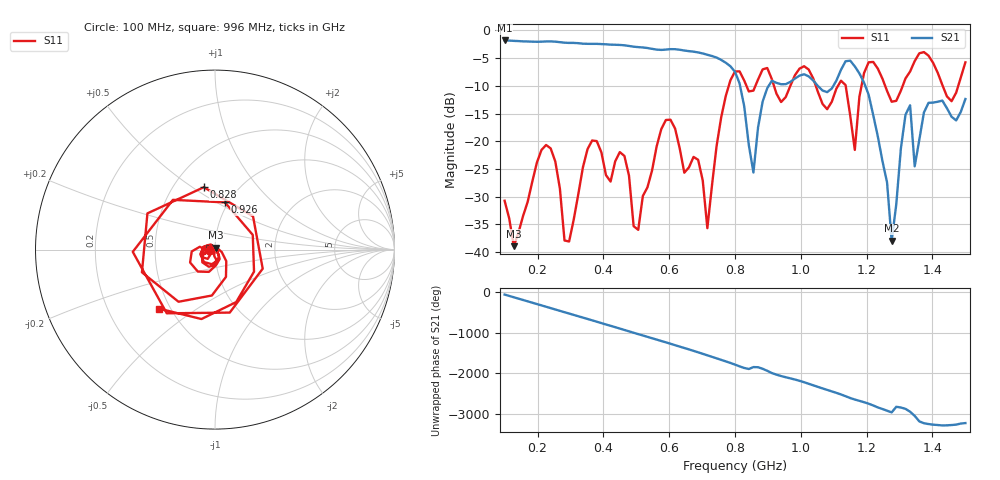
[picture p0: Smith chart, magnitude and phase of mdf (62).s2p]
! NanoVNA-App
! Date: 2025-09-25 15:38:54
! Start: 100MHz Stop: 1,5GHz Points: 101
! S-Parameter data: F S11 S21 S12 S22
# Hz S RI R 50
!  Frequency  S11_Real  S11_Imag  S21_Real  S21_Imag  S12_Real  S12_Imag  S22_Real  S22_Imag
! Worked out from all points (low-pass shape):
!   101 points, 100 MHz to 1.5 GHz, reference 50 ohm
!   highest |S21| = -1.80 dB at 100 MHz (marker M1); lowest = -38.0 dB at 1.276 GHz (marker M2)
!   |S21| within 3 dB of the highest: start of sweep to 739.3 MHz
!   lowest |S11| = -39.0 dB at 128 MHz (marker M3), VSWR 1.02, Z = 50.3 + j1.08 ohm
!   |S11| at or under -10 dB: start of sweep to 781.1 MHz; 918.4 MHz to 968.2 MHz (49.74 MHz wide, 5.27 % of centre); 1.045 GHz to 1.113 GHz (67.48 MHz wide, 6.25 % of centre) (the widest 3 of 7)
!   S12 and S22 are empty: the file has one direction only
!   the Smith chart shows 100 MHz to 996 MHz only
!   S11 on the Smith chart (normalised r, x): 100 MHz: 0.94, -0.01; 828 MHz: 0.70, +0.56; 926 MHz: 0.96, +0.55; 996 MHz: 0.44, -0.36
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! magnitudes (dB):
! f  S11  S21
! 100 MHz  -30.8  -1.8
! 128 MHz  -39.0  -1.9
! 212 MHz  -21.6  -2.0
! 282 MHz  -37.9  -2.2
! 338 MHz  -24.7  -2.4
! 464 MHz  -22.7  -2.7
! 506 MHz  -36.0  -3.0
! 576 MHz  -17.8  -3.5
! 716 MHz  -35.7  -4.4
! 800 MHz  -7.4  -7.5
! 828 MHz  -9.0  -13.7
! 856 MHz  -10.9  -25.7
! 926 MHz  -11.4  -9.5
! 996 MHz  -6.9  -8.2
! 1.038 GHz  -8.7  -9.1
! 1.136 GHz  -9.9  -5.6
! 1.164 GHz  -21.6  -6.5
! 1.192 GHz  -7.7  -9.4
! 1.276 GHz  -12.9  -38.0
! 1.332 GHz  -7.4  -13.5
! 1.346 GHz  -5.5  -24.5
! 1.5 GHz  -5.8  -12.4
